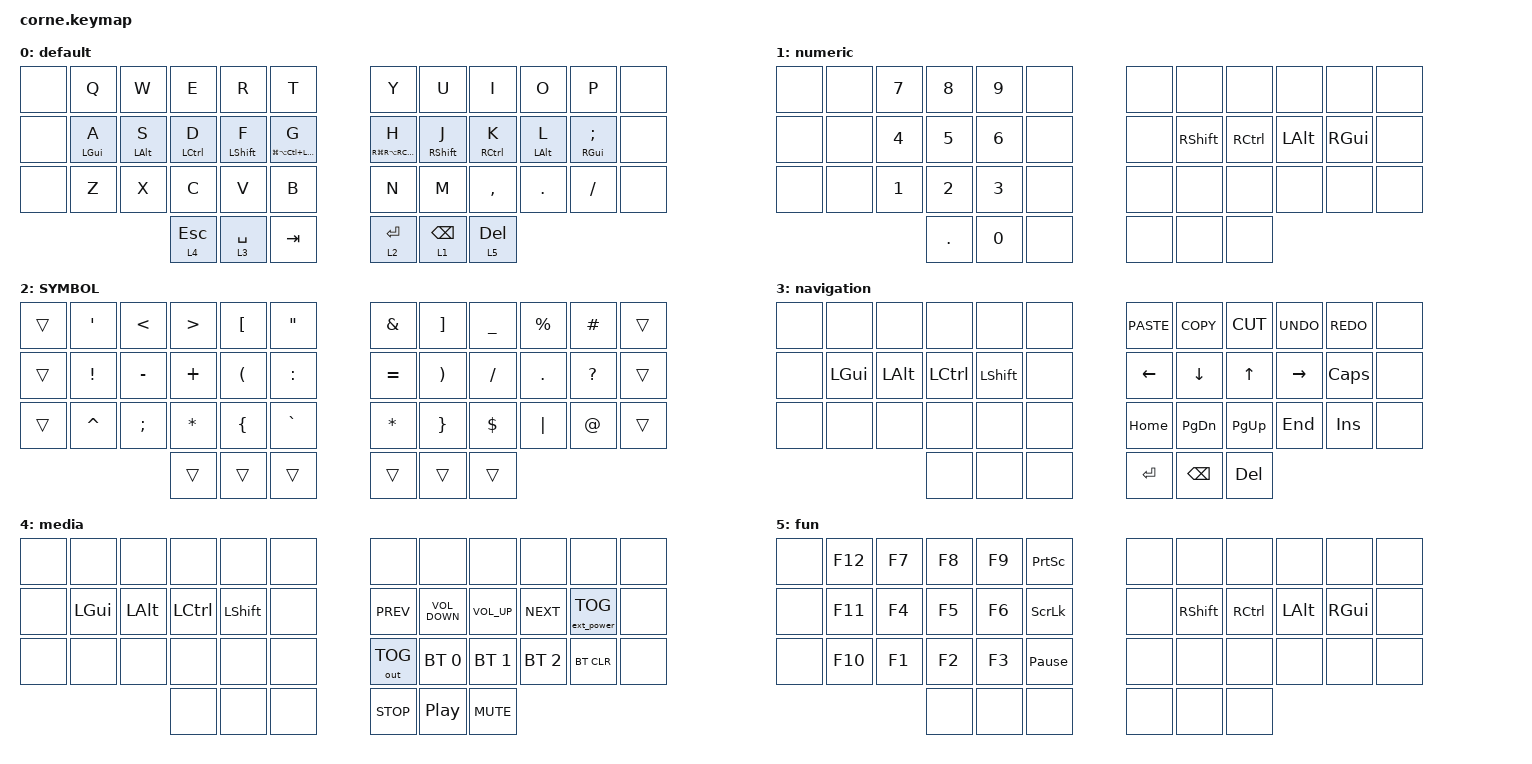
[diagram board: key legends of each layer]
/*
 * Copyright (c) 2020 The ZMK Contributors
 *
 * SPDX-License-Identifier: MIT
 */

#include <behaviors.dtsi>
#include <dt-bindings/zmk/keys.h>
#include <dt-bindings/zmk/bt.h>
#include <dt-bindings/zmk/ext_power.h>
#include <dt-bindings/zmk/outputs.h>

// Urob helpers
#include <zmk-helpers/key-labels/42.h>

/* Timeless homerow mods */
// https://github.com/urob/zmk-config/tree/main#timeless-homerow-mods
#define KEYS_L LT0 LT1 LT2 LT3 LT4 LT5 LM0 LM1 LM2 LM3 LM4 LM5 LB0 LB1 LB2 LB3 LB4 LB5  // left hand
#define KEYS_R RT0 RT1 RT2 RT3 RT4 RT5 RM0 RM1 RM2 RM3 RM4 RM5 RB0 RB1 RB2 RB3 RB4 RB5  // right hand
#define THUMBS LH2 LH1 LH0 RH0 RH1 RH2                                                  // thumbs

/ {
    combos {
      compatible = "zmk,combos";

       right_alt_right {
            bindings = <&kp RIGHT_ALT>;
            key-positions = <19 21>;
            timeout-ms = <100>;
            layers = <0>;
        };

        right_alt_left {
            bindings = <&kp RIGHT_ALT>;
            key-positions = <16 14>;
            timeout-ms = <100>;
            layers = <0>;
        };
    };

    behaviors {
      hml: homerow_mods_left {
        compatible = "zmk,behavior-hold-tap";
        label = "Homerow Mods - Left Hand";
        #binding-cells = <2>;
        flavor = "balanced";
        require-prior-idle-ms = <150>;
        tapping-term-ms = <280>;
        bindings = <&kp>, <&kp>;
        hold-trigger-key-positions = <KEYS_R THUMBS>;
        hold-trigger-on-release;
      };

      hmr: homerow_mods_right {
        compatible = "zmk,behavior-hold-tap";
        label = "Homerow Mods - Right Hand";
        #binding-cells = <2>;
        flavor = "balanced";
        require-prior-idle-ms = <150>;
        tapping-term-ms = <280>;
        bindings = <&kp>, <&kp>;
        hold-trigger-key-positions = <KEYS_L THUMBS>;
        hold-trigger-on-release;
      };
    };

    keymap {
        compatible = "zmk,keymap";

        default {
            bindings = <
&none            &kp Q            &kp W                &kp E              &kp R                          &kp T                             &kp Y               &kp U                &kp I                &kp O            &kp P                     &none
&none  &hml LEFT_GUI A  &hml LEFT_ALT S  &hml LEFT_CONTROL D  &hml LEFT_SHIFT F  &hml LG(LA(LC(LEFT_SHIFT))) G    &hmr RG(RA(RC(RIGHT_SHIFT))) H               &hmr RIGHT_SHIFT J  &hmr RIGHT_CONTROL K  &hmr LEFT_ALT L  &hmr RIGHT_GUI SEMICOLON  &none
&none            &kp Z            &kp X                &kp C              &kp V                          &kp B                             &kp N               &kp M               &kp COMMA             &kp PERIOD       &kp FSLH                  &none
                                                &lt 4 ESCAPE        &lt 3 SPACE                          &kp TAB                           &lt 2 RETURN        &lt 1 BACKSPACE     &lt 5 DELETE
            >;
        };

        numeric {
            bindings = <
&none  &none  &kp NUMBER_7  &kp NUMBER_8  &kp NUMBER_9  &none    &none            &none              &none         &none          &none  &none
&none  &none  &kp NUMBER_4  &kp NUMBER_5  &kp NUMBER_6  &none    &none  &kp RIGHT_SHIFT  &kp RIGHT_CONTROL  &kp LEFT_ALT  &kp RIGHT_GUI  &none
&none  &none  &kp NUMBER_1  &kp NUMBER_2  &kp NUMBER_3  &none    &none            &none              &none         &none          &none  &none
                                 &kp DOT  &kp NUMBER_0  &none    &none            &none              &none
            >;
        };

        symbol {
            bindings = <
&trans  &kp SINGLE_QUOTE  &kp LESS_THAN  &kp GREATER_THAN  &kp LEFT_BRACKET      &kp DOUBLE_QUOTES  &kp AMPERSAND  &kp RIGHT_BRACKET      &kp UNDERSCORE  &kp PERCENT  &kp HASH      &trans
&trans  &kp EXCLAMATION   &kp MINUS      &kp PLUS          &kp LEFT_PARENTHESIS  &kp COLON          &kp EQUAL      &kp RIGHT_PARENTHESIS  &kp SLASH       &kp PERIOD   &kp QUESTION  &trans
&trans  &kp CARET         &kp SEMICOLON  &kp ASTERISK      &kp LEFT_BRACE        &kp GRAVE          &kp ASTERISK   &kp RIGHT_BRACE        &kp DOLLAR      &kp PIPE     &kp AT        &trans
                                         &trans            &trans                &trans             &trans         &trans                 &trans
            >;

            label = "SYMBOL";
        };

        navigation {
            bindings = <
&none         &none         &none             &none           &none  &none       &kp K_PASTE      &kp K_COPY     &kp K_CUT       &kp K_UNDO    &kp K_REDO  &none
&none  &kp LEFT_GUI  &kp LEFT_ALT  &kp LEFT_CONTROL  &kp LEFT_SHIFT  &none    &kp LEFT_ARROW  &kp DOWN_ARROW  &kp UP_ARROW  &kp RIGHT_ARROW  &kp CAPSLOCK  &none
&none         &none         &none             &none           &none  &none          &kp HOME   &kp PAGE_DOWN   &kp PAGE_UP          &kp END    &kp INSERT  &none
                                              &none           &none  &none         &kp ENTER   &kp BACKSPACE    &kp DELETE
            >;
        };

        media {
            bindings = <
&none         &none         &none             &none           &none  &none           &none              &none            &none         &none              &none  &none
&none  &kp LEFT_GUI  &kp LEFT_ALT  &kp LEFT_CONTROL  &kp LEFT_SHIFT  &none      &kp C_PREV  &kp C_VOLUME_DOWN  &kp C_VOLUME_UP    &kp C_NEXT  &ext_power EP_TOG  &none
&none         &none         &none             &none           &none  &none    &out OUT_TOG       &bt BT_SEL 0     &bt BT_SEL 1  &bt BT_SEL 2         &bt BT_CLR  &none
                                              &none           &none  &none      &kp C_STOP   &kp C_PLAY_PAUSE       &kp C_MUTE
            >;
        };

        fun {
            bindings = <
&none  &kp F12  &kp F7  &kp F8  &kp F9  &kp PRINTSCREEN    &none            &none              &none         &none          &none  &none
&none  &kp F11  &kp F4  &kp F5  &kp F6   &kp SCROLLLOCK    &none  &kp RIGHT_SHIFT  &kp RIGHT_CONTROL  &kp LEFT_ALT  &kp RIGHT_GUI  &none
&none  &kp F10  &kp F1  &kp F2  &kp F3  &kp PAUSE_BREAK    &none            &none              &none         &none          &none  &none
                         &none   &none            &none    &none            &none              &none
            >;
        };
    };
};
